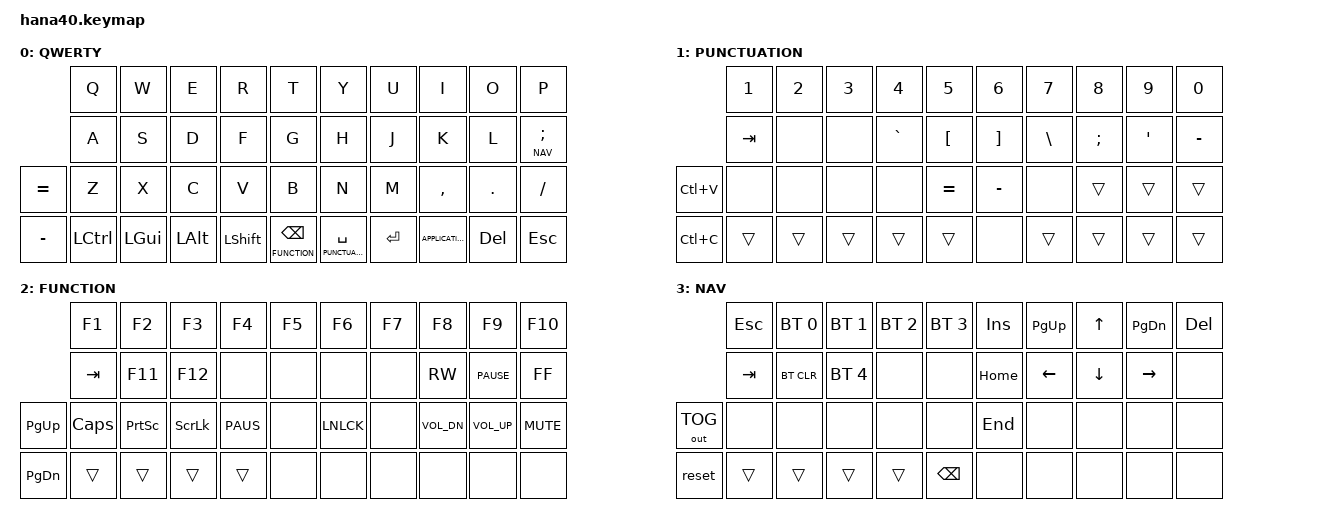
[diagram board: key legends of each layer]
/*
 * Copyright (c) 2022 fauh45
 *
 * SPDX-License-Identifier: MIT
 */

#include <behaviors.dtsi>
#include <dt-bindings/zmk/keys.h>
#include <dt-bindings/zmk/outputs.h>
#include <dt-bindings/zmk/bt.h>

#define QWERTY      0
#define PUNCTUATION 1
#define FUNCTION    2
#define NAV         3 

/ {
    keymap {
        compatible = "zmk,keymap";

        qwerty_layer {
            label = "QWERTY";
// --------------------------------------------------------------------------------------------------------------------------------------------------------------------
//           |    Q    |    W    |    E    |    R    |    T    |    Y    |    U    |    I    |    O    |    P    |
//           |    A    |    S    |    D    |    F    |    G    |    H    |    J    |    K    |    L    |    ;    |
// |    =    |    Z    |    X    |    C    |    V    |    B    |    N    |    M    |    ,    |    .    |    /    |
// |    -    |   CTRL  |   GUI   |  L ALT  |  SHIFT  |   BSPC  |  SPACE  |  RETURN |   APP   |   DEL   | ESCAPE  |
            bindings = <
                &kp Q       &kp W       &kp E       &kp R       &kp T               &kp Y                   &kp U     &kp I             &kp O       &kp P
                &kp A       &kp S       &kp D       &kp F       &kp G               &kp H                   &kp J     &kp K             &kp L       &lt NAV SEMI
    &kp EQUAL   &kp Z       &kp X       &kp C       &kp V       &kp B               &kp N                   &kp M     &kp COMMA         &kp DOT     &kp FSLH
    &kp MINUS   &kp LCTRL   &kp LGUI    &kp LALT    &kp LSHIFT  &lt FUNCTION BSPC   &lt PUNCTUATION SPACE   &kp ENTER &kp K_APPLICATION &kp DELETE  &kp ESCAPE
            >;
        };

        punctuation_layer {
            label = "PUNCTUATION";
// --------------------------------------------------------------------------------------------------------------------------------------------------------------------
//           |    1    |    2    |    3    |    4    |    5    |    6    |    7    |    9    |    9    |    0    |
//           |   TAB   |    NO   |    NO   |    `    |    [    |    ]    |    \    |    ;    |    '    |    '    |
// |  CTRL+V |    NO   |    NO   |    NO   |    NO   |    =    |    -    |    NO   |  TRANS  |  TRANS  |  TRANS  |
// |  CTRL+C |  TRANS  |  TRANS  |  TRANS  |  TRANS  |  TRANS  |   NO    |   TRANS |  TRANS  |  TRANS  |  TRANS  |
            bindings = <
                &kp 1       &kp 2       &kp 3       &kp 4       &kp 5      &kp 6     &kp 7      &kp 8     &kp 9      &kp 0
                &kp TAB     &none       &none       &kp GRAV    &kp LBKT   &kp RBKT  &kp BSLH   &kp SEMI  &kp QUOT   &kp MINUS
    &kp LC(V)   &none       &none       &none       &none       &kp EQUAL  &kp MINUS &none      &trans    &trans     &trans
    &kp LC(C)   &trans      &trans      &trans      &trans      &trans     &none     &trans     &trans    &trans     &trans
            >;
        };

        function_layer {
            label = "FUNCTION";
            bindings = <
                &kp F1      &kp F2      &kp F3      &kp F4      &kp F5     &kp F6    &kp F7     &kp F8          &kp F9        &kp F10
                &kp TAB     &kp F11     &kp F12     &none       &none      &none     &none      &kp C_RW        &kp C_PAUSE   &kp C_FF
    &kp PG_UP   &kp CAPS    &kp PSCRN   &kp SLCK    &kp PAUS    &none      &kp LNLCK &none      &kp C_VOL_DN    &kp C_VOL_UP  &kp C_MUTE
    &kp PG_DN   &trans      &trans      &trans      &trans      &none      &none     &none      &none           &none         &none
            >;
        };

        nav_layer {
            label = "NAV";
            bindings = <
                    &kp ESC     &bt BT_SEL 0    &bt BT_SEL 1      &bt BT_SEL 2      &bt BT_SEL 3     &kp INS    &kp PG_UP     &kp UP          &kp PG_DN     &kp DEL
                    &kp TAB     &bt BT_CLR      &bt BT_SEL 4      &none             &none            &kp HOME   &kp LEFT      &kp DOWN        &kp RIGHT     &none
    &out OUT_TOG    &none       &none           &none             &none             &none            &kp END    &none         &none           &none         &none
    &reset          &trans      &trans          &trans            &trans            &kp BSPC         &none      &none         &none           &none         &none
            >;
        };
    };
};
